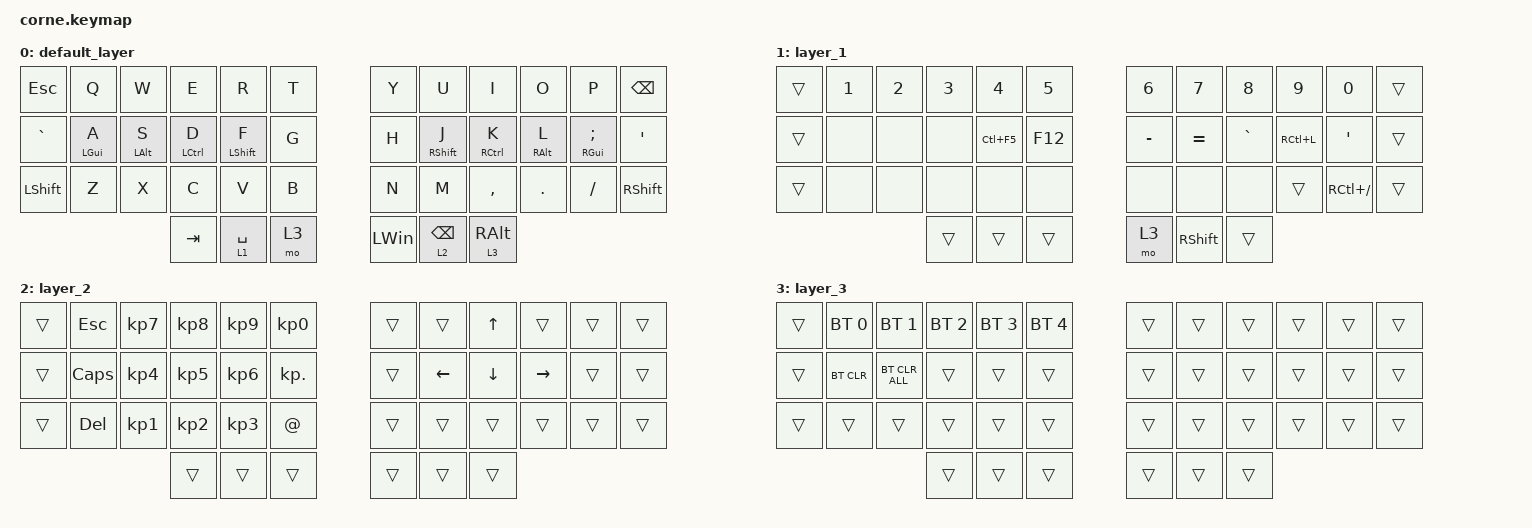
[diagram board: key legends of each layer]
/*
 * Copyright (c) 2020 The ZMK Contributors
 *
 * SPDX-License-Identifier: MIT
 */

#include <behaviors.dtsi>
#include <dt-bindings/zmk/bt.h>
#include <dt-bindings/zmk/keys.h>

/ {
    combos {
        compatible = "zmk,combos";

        combo1 {
            bindings = <&kp LBKT>;
            key-positions = <3 4>;
        };

        combo2 {
            bindings = <&kp RBKT>;
            key-positions = <7 8>;
        };

        combo3 {
            bindings = <&kp LEFT_PARENTHESIS>;
            key-positions = <15 16>;
        };

        combo4 {
            bindings = <&kp RIGHT_PARENTHESIS>;
            key-positions = <19 20>;
        };

        combo5 {
            bindings = <&kp LEFT_BRACE>;
            key-positions = <27 28>;
        };

        combo6 {
            bindings = <&kp RIGHT_BRACE>;
            key-positions = <31 32>;
        };

        combo7 {
            bindings = <&kp BACKSLASH>;
            key-positions = <5 6>;
        };

        combo8 {
            bindings = <&kp PIPE>;
            key-positions = <17 18>;
        };

        combo9 {
            bindings = <&kp ENTER>;
            key-positions = <21 22>;
        };
    };

    behaviors {
        tab_esc_ctrl: tab_esc_ctrl {
            compatible = "zmk,behavior-tap-dance";
            label = "TAB_ESC_CTRL";
            #binding-cells = <0>;
            bindings = <&mt LCTRL ESC>, <&kp TAB>;
        };

        gqt: global-quick-tap {
            compatible = "zmk,behavior-hold-tap";
            label = "GLOBAL_QUICK_TAP";
            bindings = <&kp>, <&kp>;

            #binding-cells = <2>;
            tapping-term-ms = <300>;
            quick-tap-ms = <180>;
            global-quick-tap;
            flavor = "tap-preferred";
        };

        ltq: ltq {
            compatible = "zmk,behavior-hold-tap";
            label = "LTQ";
            bindings = <&mo>, <&kp>;

            #binding-cells = <2>;
            tapping-term-ms = <200>;
            quick-tap-ms = <180>;
            global-quick-tap;
        };

        caps_esc_ctrl: caps_esc_ctrl {
            compatible = "zmk,behavior-tap-dance";
            label = "CAPS_ESC_CTRL";
            #binding-cells = <0>;
            bindings = <&mt LCTRL ESC>, <&kt CAPSLOCK>;
        };
    };

    keymap {
        compatible = "zmk,keymap";

        default_layer {
            bindings = <
&kp ESC         &kp Q            &kp W            &kp E         &kp R          &kp T    &kp Y         &kp U          &kp I            &kp O             &kp P           &kp BACKSPACE
&kp GRAVE       &gqt LEFT_GUI A  &gqt LEFT_ALT S  &gqt LCTRL D  &gqt LSHIFT F  &kp G    &kp H         &gqt RSHIFT J  &gqt RCTRL K     &gqt RIGHT_ALT L  &gqt RGUI SEMI  &kp SQT
&kp LEFT_SHIFT  &kp Z            &kp X            &kp C         &kp V          &kp B    &kp N         &kp M          &kp COMMA        &kp DOT           &kp FSLH        &kp RIGHT_SHIFT
                                                  &kp TAB       &lt 1 SPACE    &mo 3    &kp LEFT_WIN  &ltq 2 BSPC    &lt 3 RIGHT_ALT
            >;
        };

        layer_1 {
            bindings = <
&trans  &kp NUMBER_1  &kp NUMBER_2  &kp NUMBER_3  &kp NUMBER_4  &kp NUMBER_5    &kp NUMBER_6  &kp NUMBER_7  &kp NUMBER_8  &kp NUMBER_9  &kp NUMBER_0   &trans
&trans  &none         &none         &none         &kp LC(F5)    &kp F12         &kp MINUS     &kp EQUAL     &kp GRAVE     &kp RC(L)     &kp SQT        &trans
&trans  &none         &none         &none         &none         &none           &none         &none         &none         &trans        &kp RC(SLASH)  &trans
                                    &trans        &trans        &trans          &mo 3         &kp RSHIFT    &trans
            >;
        };

        layer_2 {
            bindings = <
&trans  &kp ESC   &kp KP_NUMBER_7  &kp KP_NUMBER_8  &kp KP_NUMBER_9  &kp KP_NUMBER_0    &trans  &trans    &kp UP    &trans     &trans  &trans
&trans  &kp CAPS  &kp KP_NUMBER_4  &kp KP_NUMBER_5  &kp KP_NUMBER_6  &kp KP_DOT         &trans  &kp LEFT  &kp DOWN  &kp RIGHT  &trans  &trans
&trans  &kp DEL   &kp KP_NUMBER_1  &kp KP_NUMBER_2  &kp KP_NUMBER_3  &kp AT_SIGN        &trans  &trans    &trans    &trans     &trans  &trans
                                   &trans           &trans           &trans             &trans  &trans    &trans
            >;
        };

        layer_3 {
            bindings = <
&trans  &bt BT_SEL 0  &bt BT_SEL 1    &bt BT_SEL 2  &bt BT_SEL 3  &bt BT_SEL 4    &trans  &trans  &trans  &trans  &trans  &trans
&trans  &bt BT_CLR    &bt BT_CLR_ALL  &trans        &trans        &trans          &trans  &trans  &trans  &trans  &trans  &trans
&trans  &trans        &trans          &trans        &trans        &trans          &trans  &trans  &trans  &trans  &trans  &trans
                                      &trans        &trans        &trans          &trans  &trans  &trans
            >;
        };
    };
};
